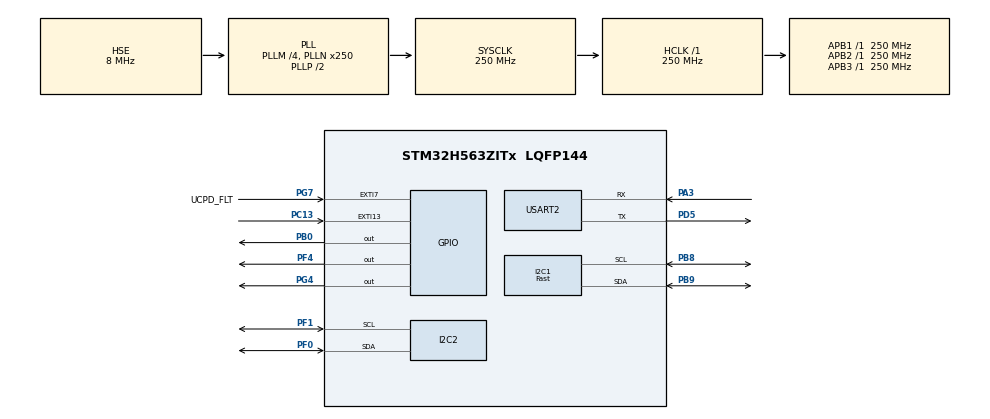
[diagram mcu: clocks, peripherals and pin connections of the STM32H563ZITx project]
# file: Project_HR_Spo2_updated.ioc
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BOOTPATH.BootPathName=LEGACY
BOOTPATH.UserSelectedBootPath=LEGACY
CORTEX_M33_NS.userName=CORTEX_M33
I2C1.I2C_Speed_Mode=I2C_Fast
I2C1.Timing=0x10C043E5
I2C2.Timing=0x60808CD3
Mcu.Family=STM32H5
Mcu.Name=STM32H563ZITx
Mcu.Package=LQFP144
NUCLEO-H563ZI.VCP=true
NVIC.PriorityGroup=NVIC_PRIORITYGROUP_3
NVIC.TIM2_IRQn=true\:0\:1\:false\:false\:true\:true\:true\:true
PA1.GPIO_Label=RMII_REF_CLK
PA1.GPIO_Mode=GPIO_MODE_AF_PP
PA1.GPIO_PuPd=GPIO_NOPULL
PA1.GPIO_Speed=GPIO_SPEED_FREQ_LOW
PA1.Signal=ETH_REF_CLK
PA11.GPIO_Label=USB_FS_N
PA11.Signal=USB_DM
PA12.GPIO_Label=USB_FS_P
PA12.Signal=USB_DP
PA13(JTMS/SWDIO).GPIO_Label=SWDIO
PA13(JTMS/SWDIO).Mode=Serial_Wire
PA13(JTMS/SWDIO).Signal=DEBUG_JTMS-SWDIO
PA14(JTCK/SWCLK).GPIO_Label=SWCLK
PA14(JTCK/SWCLK).Mode=Serial_Wire
PA14(JTCK/SWCLK).Signal=DEBUG_JTCK-SWCLK
PA15(JTDI).GPIO_Label=T_JTDI
PA15(JTDI).Signal=DEBUG_JTDI
PA2.GPIO_Label=RMII_MDIO
PA2.GPIO_Mode=GPIO_MODE_AF_PP
PA2.GPIO_PuPd=GPIO_NOPULL
PA2.GPIO_Speed=GPIO_SPEED_FREQ_LOW
PA2.Signal=ETH_MDIO
PA3.Mode=Asynchronous
PA3.Signal=USART2_RX
PA4.GPIO_Label=VBUS_SENSE
PA4.Signal=ADCx_INP18
PA7.GPIO_Label=RMII_CRS_DV
PA7.GPIO_Mode=GPIO_MODE_AF_PP
PA7.GPIO_PuPd=GPIO_NOPULL
PA7.GPIO_Speed=GPIO_SPEED_FREQ_LOW
PA7.Signal=ETH_CRS_DV
PA9.GPIO_Label=UCDP_DBn
PA9.Signal=UCPD1_DB1
PB0.Signal=GPIO_Output
PB13.GPIO_Label=UCPD_CC1
PB13.Signal=UCPD1_CC1
PB14.GPIO_Label=UCPD_CC2
PB14.Signal=UCPD1_CC2
PB15.GPIO_Label=RMII_TXD1
PB15.GPIO_Mode=GPIO_MODE_AF_PP
PB15.GPIO_PuPd=GPIO_NOPULL
PB15.GPIO_Speed=GPIO_SPEED_FREQ_LOW
PB15.Signal=ETH_TXD1
PB3(JTDO/TRACESWO).GPIO_Label=SWO
PB3(JTDO/TRACESWO).Signal=DEBUG_JTDO-SWO
PB6.GPIO_Label=ARD_D1_TX
PB6.Signal=LPUART1_TX
PB7.GPIO_Label=ARD_D0_RX
PB7.Signal=LPUART1_RX
PB8.Mode=I2C
PB8.Signal=I2C1_SCL
PB9.Mode=I2C
PB9.Signal=I2C1_SDA
PC1.GPIO_Label=RMII_MDC
PC1.GPIO_Mode=GPIO_MODE_AF_PP
PC1.GPIO_PuPd=GPIO_NOPULL
PC1.GPIO_Speed=GPIO_SPEED_FREQ_LOW
PC1.Signal=ETH_MDC
PC13.Signal=GPXTI13
PC14-OSC32_IN(OSC32_IN).Mode=LSE-External-Oscillator
PC14-OSC32_IN(OSC32_IN).Signal=RCC_OSC32_IN
PC15-OSC32_OUT(OSC32_OUT).Mode=LSE-External-Oscillator
PC15-OSC32_OUT(OSC32_OUT).Signal=RCC_OSC32_OUT
PC4.GPIO_Label=RMII_RXD0
PC4.GPIO_Mode=GPIO_MODE_AF_PP
PC4.GPIO_PuPd=GPIO_NOPULL
PC4.GPIO_Speed=GPIO_SPEED_FREQ_LOW
PC4.Signal=ETH_RXD0
PC5.GPIO_Label=RMII_RXD1
PC5.GPIO_Mode=GPIO_MODE_AF_PP
PC5.GPIO_PuPd=GPIO_NOPULL
PC5.GPIO_Speed=GPIO_SPEED_FREQ_LOW
PC5.Signal=ETH_RXD1
PD5.Mode=Asynchronous
PD5.Signal=USART2_TX
PD8.Signal=USART3_TX
PD9.Signal=USART3_RX
PE2.GPIO_Label=TRACE_CK
PE2.Signal=DEBUG_TRACECLK
PE3.GPIO_Label=TRACE_D0
PE3.Signal=DEBUG_TRACED0
PE4.GPIO_Label=TRACE_D1
PE4.Signal=DEBUG_TRACED1
PE5.GPIO_Label=TRACE_D2
PE5.Signal=DEBUG_TRACED2
PE6.GPIO_Label=TRACE_D3
PE6.Signal=DEBUG_TRACED3
PF0.Mode=I2C
PF0.Signal=I2C2_SDA
PF1.Mode=I2C
PF1.Signal=I2C2_SCL
PF4.Signal=GPIO_Output
PG11.GPIO_Label=RMII_TXT_EN
PG11.GPIO_Mode=GPIO_MODE_AF_PP
PG11.GPIO_PuPd=GPIO_NOPULL
PG11.GPIO_Speed=GPIO_SPEED_FREQ_LOW
PG11.Signal=ETH_TX_EN
PG13.GPIO_Label=RMI_TXD0
PG13.GPIO_Mode=GPIO_MODE_AF_PP
PG13.GPIO_PuPd=GPIO_NOPULL
PG13.GPIO_Speed=GPIO_SPEED_FREQ_LOW
PG13.Signal=ETH_TXD0
PG4.Signal=GPIO_Output
PG7.GPIO_Label=UCPD_FLT
PG7.Signal=GPXTI7
PH0-OSC_IN(PH0).GPIO_Label=STLK_MCO
PH0-OSC_IN(PH0).Mode=HSE-External-Clock-Source
PH0-OSC_IN(PH0).Signal=RCC_OSC_IN
ProjectManager.HeapSize=0x200
ProjectManager.StackSize=0x400
ProjectManager.TargetToolchain=STM32CubeIDE
RCC.ADCFreq_Value=250000000
RCC.AHBFreq_Value=250000000
RCC.APB1Freq_Value=250000000
RCC.APB1TimFreq_Value=250000000
RCC.APB2Freq_Value=250000000
RCC.APB2TimFreq_Value=250000000
RCC.APB3Freq_Value=250000000
RCC.CSI_VALUE=4000000
RCC.CortexFreq_Value=250000000
RCC.EPOD_VALUE=8000000
RCC.HCLKFreq_Value=250000000
RCC.HSE_VALUE=8000000
RCC.HSI48_VALUE=48000000
RCC.HSIDiv=RCC_HSI_DIV1
RCC.HSI_VALUE=64000000
RCC.LSIRC_VALUE=32000
RCC.PLLM=4
RCC.PLLN=250
RCC.PLLSourceVirtual=RCC_PLL1_SOURCE_HSE
RCC.SYSCLKFreq_VALUE=250000000
RCC.SYSCLKSource=RCC_SYSCLKSOURCE_PLLCLK
RCC.USBFreq_Value=48000000
RCC.VCOOutputFreq_Value=500000000
SH.ADCx_INP18.0=ADC1_INP18
TIM2.PeriodNoDither=99
TIM2.Prescaler=24999
USART2.VirtualMode-Asynchronous=VM_ASYNC
VP_BOOTPATH_VS_BOOTPATH.Mode=BP_Activate
VP_CORTEX_M33_NS_VS_Hclk.Mode=Hclk_Mode
VP_MEMORYMAP_VS_MEMORYMAP.Mode=CurAppReg
VP_NUCLEO-H563ZI_VS_BSP_COMMON.Mode=COMMON
VP_PWR_VS_DBSignals.Mode=DisableDeadBatterySignals
VP_PWR_VS_LPOM.Mode=PowerOptimisation
VP_PWR_VS_SECSignals.Mode=Security/Privilege
VP_TIM2_VS_ClockSourceINT.Mode=Internal
board=NUCLEO-H563ZI

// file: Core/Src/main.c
/* USER CODE BEGIN Header */
/**
  ******************************************************************************
  * @file           : main.c
  * @brief          : Main program body
  ******************************************************************************
  * @attention
  *
  * Copyright (c) 2025 STMicroelectronics.
  * All rights reserved.
  *
  * This software is licensed under terms that can be found in the LICENSE file
  * in the root directory of this software component.
  * If no LICENSE file comes with this software, it is provided AS-IS.
  *
  ******************************************************************************
  */
/* USER CODE END Header */
#include "main.h"

/* USER CODE BEGIN Includes */
#include "max30102.h"
/* USER CODE END Includes */

/* USER CODE BEGIN PTD */
/* System status */
typedef enum {
    SYSTEM_INIT,
    SYSTEM_READY,
    SYSTEM_SAMPLING,
    SYSTEM_ERROR
} SystemState_t;
/* USER CODE END PTD */

/* USER CODE BEGIN PD */
/* Status LED control */
#define STATUS_LED_PORT     GPIOA
#define STATUS_LED_PIN      GPIO_PIN_5
/* USER CODE END PD */

COM_InitTypeDef BspCOMInit;

I2C_HandleTypeDef hi2c1;
I2C_HandleTypeDef hi2c2;

TIM_HandleTypeDef htim2;

UART_HandleTypeDef huart2;

/* USER CODE BEGIN PV */
/* Timer callback flag for sampling */
volatile uint8_t sample_flag = 0;
volatile uint32_t system_tick = 0;

static SystemState_t system_state = SYSTEM_INIT;
/* USER CODE END PV */

void SystemClock_Config(void);
static void MX_GPIO_Init(void);
static void MX_I2C2_Init(void);
static void MX_TIM2_Init(void);
static void MX_I2C1_Init(void);
static void MX_USART2_UART_Init(void);
/* USER CODE BEGIN PFP */
void StatusLEDUpdate(void);
void MAX30102_Debug(void);
/* USER CODE END PFP */

int main(void)
{

  /* MCU Configuration--------------------------------------------------------*/

  /* Reset of all peripherals, Initializes the Flash interface and the Systick. */
  HAL_Init();

  /* Configure the system clock */
  SystemClock_Config();

  /* Initialize all configured peripherals */
  MX_GPIO_Init();
  MX_I2C2_Init();
  MX_TIM2_Init();
  MX_I2C1_Init();
  MX_USART2_UART_Init();
  /* USER CODE BEGIN 2 */

  /* Welcome message */
      printf("\r\n=== MAX30102 Pulse Oximeter System ===\r\n");
      printf("Initializing sensor...\r\n");

      /* Initialize MAX30102 sensor */
      MAX30102_Init();
      HAL_Delay(500);  // Allow sensor to stabilize

      /* Start sampling timer (10ms interval for 100Hz sampling) */
      if (HAL_TIM_Base_Start_IT(&htim2) != HAL_OK) {
          Error_Handler();
      }

      system_state = SYSTEM_READY;
      printf("System ready. Place finger on sensor.\r\n");

      /* Status LED: Slow blink for ready state */
      HAL_GPIO_WritePin(STATUS_LED_PORT, STATUS_LED_PIN, GPIO_PIN_SET);

  /* USER CODE END 2 */

//  /* Initialize COM1 port (115200, 8 bits (7-bit data + 1 stop bit), no parity */
//  BspCOMInit.BaudRate   = 115200;
//  BspCOMInit.WordLength = COM_WORDLENGTH_8B;
//  BspCOMInit.StopBits   = COM_STOPBITS_1;
//  BspCOMInit.Parity     = COM_PARITY_NONE;
//  BspCOMInit.HwFlowCtl  = COM_HWCONTROL_NONE;
//  if (BSP_COM_Init(COM1, &BspCOMInit) != BSP_ERROR_NONE)
//  {
//    Error_Handler();
//  }

  /* Infinite loop */
  while (1)
  {

    /* USER CODE BEGIN 3 */
	  /* Check for sampling flag from timer interrupt */
	          if (sample_flag) {
	              sample_flag = 0;

	              /* Read new FIFO data */

	              MAX30102_ReadFIFO();

	              /* Update system state based on data availability */
	              if (sensor_data.count >= MIN_SAMPLES_FOR_HR && system_state == SYSTEM_READY) {
	                  system_state = SYSTEM_SAMPLING;
	                  printf("Processing signals...\r\n");
	              }
	          }

	          /* Process vital signs every 100ms (when we have enough samples) */
	          static uint32_t last_process_time = 0;
	          uint32_t current_time = HAL_GetTick();

	          if (sensor_data.count >= MIN_SAMPLES_FOR_HR &&
	              (current_time - last_process_time) >= 100) {

	              /* Apply signal processing filters */
	              ProcessSignals();

	              /* Calculate and display vital signs */
	              ProcessVitalSigns();

	              last_process_time = current_time;
	          }

	          /* Status LED management */
	          StatusLEDUpdate();

	          HAL_Delay(100);
//	          MAX30102_Debug();
	          /* Watchdog or system health checks could go here */

	          /* Power optimization: brief sleep when no processing needed */
	          if (!sample_flag && (current_time - last_process_time) < 90) {
	              HAL_Delay(1);  // Brief delay to prevent busy waiting
	          }

  }
  /* USER CODE END 3 */
}

void SystemClock_Config(void)
{
  RCC_OscInitTypeDef RCC_OscInitStruct = {0};
  RCC_ClkInitTypeDef RCC_ClkInitStruct = {0};

  /** Configure the main internal regulator output voltage
  */
  __HAL_PWR_VOLTAGESCALING_CONFIG(PWR_REGULATOR_VOLTAGE_SCALE0);

  while(!__HAL_PWR_GET_FLAG(PWR_FLAG_VOSRDY)) {}

  /** Initializes the RCC Oscillators according to the specified parameters
  * in the RCC_OscInitTypeDef structure.
  */
  RCC_OscInitStruct.OscillatorType = RCC_OSCILLATORTYPE_HSE;
  RCC_OscInitStruct.HSEState = RCC_HSE_BYPASS;
  RCC_OscInitStruct.PLL.PLLState = RCC_PLL_ON;
  RCC_OscInitStruct.PLL.PLLSource = RCC_PLL1_SOURCE_HSE;
  RCC_OscInitStruct.PLL.PLLM = 4;
  RCC_OscInitStruct.PLL.PLLN = 250;
  RCC_OscInitStruct.PLL.PLLP = 2;
  RCC_OscInitStruct.PLL.PLLQ = 2;
  RCC_OscInitStruct.PLL.PLLR = 2;
  RCC_OscInitStruct.PLL.PLLRGE = RCC_PLL1_VCIRANGE_1;
  RCC_OscInitStruct.PLL.PLLVCOSEL = RCC_PLL1_VCORANGE_WIDE;
  RCC_OscInitStruct.PLL.PLLFRACN = 0;
  if (HAL_RCC_OscConfig(&RCC_OscInitStruct) != HAL_OK)
  {
    Error_Handler();
  }

  /** Initializes the CPU, AHB and APB buses clocks
  */
  RCC_ClkInitStruct.ClockType = RCC_CLOCKTYPE_HCLK|RCC_CLOCKTYPE_SYSCLK
                              |RCC_CLOCKTYPE_PCLK1|RCC_CLOCKTYPE_PCLK2
                              |RCC_CLOCKTYPE_PCLK3;
  RCC_ClkInitStruct.SYSCLKSource = RCC_SYSCLKSOURCE_PLLCLK;
  RCC_ClkInitStruct.AHBCLKDivider = RCC_SYSCLK_DIV1;
  RCC_ClkInitStruct.APB1CLKDivider = RCC_HCLK_DIV1;
  RCC_ClkInitStruct.APB2CLKDivider = RCC_HCLK_DIV1;
  RCC_ClkInitStruct.APB3CLKDivider = RCC_HCLK_DIV1;

  if (HAL_RCC_ClockConfig(&RCC_ClkInitStruct, FLASH_LATENCY_5) != HAL_OK)
  {
    Error_Handler();
  }

  /** Configure the programming delay
  */
  __HAL_FLASH_SET_PROGRAM_DELAY(FLASH_PROGRAMMING_DELAY_2);
}

static void MX_I2C1_Init(void)
{

  hi2c1.Instance = I2C1;
  hi2c1.Init.Timing = 0x10C043E5;
  hi2c1.Init.OwnAddress1 = 0;
  hi2c1.Init.AddressingMode = I2C_ADDRESSINGMODE_7BIT;
  hi2c1.Init.DualAddressMode = I2C_DUALADDRESS_DISABLE;
  hi2c1.Init.OwnAddress2 = 0;
  hi2c1.Init.OwnAddress2Masks = I2C_OA2_NOMASK;
  hi2c1.Init.GeneralCallMode = I2C_GENERALCALL_DISABLE;
  hi2c1.Init.NoStretchMode = I2C_NOSTRETCH_DISABLE;
  if (HAL_I2C_Init(&hi2c1) != HAL_OK)
  {
    Error_Handler();
  }

  /** Configure Analogue filter
  */
  if (HAL_I2CEx_ConfigAnalogFilter(&hi2c1, I2C_ANALOGFILTER_ENABLE) != HAL_OK)
  {
    Error_Handler();
  }

  /** Configure Digital filter
  */
  if (HAL_I2CEx_ConfigDigitalFilter(&hi2c1, 0) != HAL_OK)
  {
    Error_Handler();
  }

}

static void MX_I2C2_Init(void)
{

  hi2c2.Instance = I2C2;
  hi2c2.Init.Timing = 0x60808CD3;
  hi2c2.Init.OwnAddress1 = 0;
  hi2c2.Init.AddressingMode = I2C_ADDRESSINGMODE_7BIT;
  hi2c2.Init.DualAddressMode = I2C_DUALADDRESS_DISABLE;
  hi2c2.Init.OwnAddress2 = 0;
  hi2c2.Init.OwnAddress2Masks = I2C_OA2_NOMASK;
  hi2c2.Init.GeneralCallMode = I2C_GENERALCALL_DISABLE;
  hi2c2.Init.NoStretchMode = I2C_NOSTRETCH_DISABLE;
  if (HAL_I2C_Init(&hi2c2) != HAL_OK)
  {
    Error_Handler();
  }

  /** Configure Analogue filter
  */
  if (HAL_I2CEx_ConfigAnalogFilter(&hi2c2, I2C_ANALOGFILTER_ENABLE) != HAL_OK)
  {
    Error_Handler();
  }

  /** Configure Digital filter
  */
  if (HAL_I2CEx_ConfigDigitalFilter(&hi2c2, 0) != HAL_OK)
  {
    Error_Handler();
  }

}

static void MX_TIM2_Init(void)
{

  TIM_ClockConfigTypeDef sClockSourceConfig = {0};
  TIM_MasterConfigTypeDef sMasterConfig = {0};

  htim2.Instance = TIM2;
  htim2.Init.Prescaler = 8399;
  htim2.Init.CounterMode = TIM_COUNTERMODE_UP;
  htim2.Init.Period = 99;
  htim2.Init.ClockDivision = TIM_CLOCKDIVISION_DIV1;
  htim2.Init.AutoReloadPreload = TIM_AUTORELOAD_PRELOAD_DISABLE;
  if (HAL_TIM_Base_Init(&htim2) != HAL_OK)
  {
    Error_Handler();
  }
  sClockSourceConfig.ClockSource = TIM_CLOCKSOURCE_INTERNAL;
  if (HAL_TIM_ConfigClockSource(&htim2, &sClockSourceConfig) != HAL_OK)
  {
    Error_Handler();
  }
  sMasterConfig.MasterOutputTrigger = TIM_TRGO_RESET;
  sMasterConfig.MasterSlaveMode = TIM_MASTERSLAVEMODE_DISABLE;
  if (HAL_TIMEx_MasterConfigSynchronization(&htim2, &sMasterConfig) != HAL_OK)
  {
    Error_Handler();
  }

}

static void MX_USART2_UART_Init(void)
{

  huart2.Instance = USART2;
  huart2.Init.BaudRate = 115200;
  huart2.Init.WordLength = UART_WORDLENGTH_8B;
  huart2.Init.StopBits = UART_STOPBITS_1;
  huart2.Init.Parity = UART_PARITY_NONE;
  huart2.Init.Mode = UART_MODE_TX_RX;
  huart2.Init.HwFlowCtl = UART_HWCONTROL_NONE;
  huart2.Init.OverSampling = UART_OVERSAMPLING_16;
  huart2.Init.OneBitSampling = UART_ONE_BIT_SAMPLE_DISABLE;
  huart2.Init.ClockPrescaler = UART_PRESCALER_DIV1;
  huart2.AdvancedInit.AdvFeatureInit = UART_ADVFEATURE_NO_INIT;
  if (HAL_UART_Init(&huart2) != HAL_OK)
  {
    Error_Handler();
  }
  if (HAL_UARTEx_SetTxFifoThreshold(&huart2, UART_TXFIFO_THRESHOLD_1_8) != HAL_OK)
  {
    Error_Handler();
  }
  if (HAL_UARTEx_SetRxFifoThreshold(&huart2, UART_RXFIFO_THRESHOLD_1_8) != HAL_OK)
  {
    Error_Handler();
  }
  if (HAL_UARTEx_DisableFifoMode(&huart2) != HAL_OK)
  {
    Error_Handler();
  }

}

static void MX_GPIO_Init(void)
{
  GPIO_InitTypeDef GPIO_InitStruct = {0};

  /* GPIO Ports Clock Enable */
  __HAL_RCC_GPIOE_CLK_ENABLE();
  __HAL_RCC_GPIOC_CLK_ENABLE();
  __HAL_RCC_GPIOF_CLK_ENABLE();
  __HAL_RCC_GPIOH_CLK_ENABLE();
  __HAL_RCC_GPIOA_CLK_ENABLE();
  __HAL_RCC_GPIOB_CLK_ENABLE();
  __HAL_RCC_GPIOG_CLK_ENABLE();
  __HAL_RCC_GPIOD_CLK_ENABLE();

  /*Configure GPIO pin Output Level */
  HAL_GPIO_WritePin(GPIOF, GPIO_PIN_4, GPIO_PIN_RESET);

  /*Configure GPIO pin Output Level */
  HAL_GPIO_WritePin(GPIOB, GPIO_PIN_0, GPIO_PIN_RESET);

  /*Configure GPIO pin Output Level */
  HAL_GPIO_WritePin(GPIOG, GPIO_PIN_4, GPIO_PIN_RESET);

  /*Configure GPIO pin : PC13 */
  GPIO_InitStruct.Pin = GPIO_PIN_13;
  GPIO_InitStruct.Mode = GPIO_MODE_IT_RISING;
  GPIO_InitStruct.Pull = GPIO_NOPULL;
  HAL_GPIO_Init(GPIOC, &GPIO_InitStruct);

  /*Configure GPIO pin : PF4 */
  GPIO_InitStruct.Pin = GPIO_PIN_4;
  GPIO_InitStruct.Mode = GPIO_MODE_OUTPUT_PP;
  GPIO_InitStruct.Pull = GPIO_NOPULL;
  GPIO_InitStruct.Speed = GPIO_SPEED_FREQ_LOW;
  HAL_GPIO_Init(GPIOF, &GPIO_InitStruct);

  /*Configure GPIO pins : RMII_MDC_Pin RMII_RXD0_Pin RMII_RXD1_Pin */
  GPIO_InitStruct.Pin = RMII_MDC_Pin|RMII_RXD0_Pin|RMII_RXD1_Pin;
  GPIO_InitStruct.Mode = GPIO_MODE_AF_PP;
  GPIO_InitStruct.Pull = GPIO_NOPULL;
  GPIO_InitStruct.Speed = GPIO_SPEED_FREQ_HIGH;
  GPIO_InitStruct.Alternate = GPIO_AF11_ETH;
  HAL_GPIO_Init(GPIOC, &GPIO_InitStruct);

  /*Configure GPIO pins : RMII_REF_CLK_Pin RMII_MDIO_Pin RMII_CRS_DV_Pin */
  GPIO_InitStruct.Pin = RMII_REF_CLK_Pin|RMII_MDIO_Pin|RMII_CRS_DV_Pin;
  GPIO_InitStruct.Mode = GPIO_MODE_AF_PP;
  GPIO_InitStruct.Pull = GPIO_NOPULL;
  GPIO_InitStruct.Speed = GPIO_SPEED_FREQ_HIGH;
  GPIO_InitStruct.Alternate = GPIO_AF11_ETH;
  HAL_GPIO_Init(GPIOA, &GPIO_InitStruct);

  /*Configure GPIO pin : VBUS_SENSE_Pin */
  GPIO_InitStruct.Pin = VBUS_SENSE_Pin;
  GPIO_InitStruct.Mode = GPIO_MODE_ANALOG;
  GPIO_InitStruct.Pull = GPIO_NOPULL;
  HAL_GPIO_Init(VBUS_SENSE_GPIO_Port, &GPIO_InitStruct);

  /*Configure GPIO pin : PB0 */
  GPIO_InitStruct.Pin = GPIO_PIN_0;
  GPIO_InitStruct.Mode = GPIO_MODE_OUTPUT_PP;
  GPIO_InitStruct.Pull = GPIO_NOPULL;
  GPIO_InitStruct.Speed = GPIO_SPEED_FREQ_LOW;
  HAL_GPIO_Init(GPIOB, &GPIO_InitStruct);

  /*Configure GPIO pins : UCPD_CC1_Pin UCPD_CC2_Pin */
  GPIO_InitStruct.Pin = UCPD_CC1_Pin|UCPD_CC2_Pin;
  GPIO_InitStruct.Mode = GPIO_MODE_ANALOG;
  GPIO_InitStruct.Pull = GPIO_NOPULL;
  HAL_GPIO_Init(GPIOB, &GPIO_InitStruct);

  /*Configure GPIO pin : RMII_TXD1_Pin */
  GPIO_InitStruct.Pin = RMII_TXD1_Pin;
  GPIO_InitStruct.Mode = GPIO_MODE_AF_PP;
  GPIO_InitStruct.Pull = GPIO_NOPULL;
  GPIO_InitStruct.Speed = GPIO_SPEED_FREQ_HIGH;
  GPIO_InitStruct.Alternate = GPIO_AF11_ETH;
  HAL_GPIO_Init(RMII_TXD1_GPIO_Port, &GPIO_InitStruct);

  /*Configure GPIO pin : PG4 */
  GPIO_InitStruct.Pin = GPIO_PIN_4;
  GPIO_InitStruct.Mode = GPIO_MODE_OUTPUT_PP;
  GPIO_InitStruct.Pull = GPIO_NOPULL;
  GPIO_InitStruct.Speed = GPIO_SPEED_FREQ_LOW;
  HAL_GPIO_Init(GPIOG, &GPIO_InitStruct);

  /*Configure GPIO pin : UCPD_FLT_Pin */
  GPIO_InitStruct.Pin = UCPD_FLT_Pin;
  GPIO_InitStruct.Mode = GPIO_MODE_IT_RISING;
  GPIO_InitStruct.Pull = GPIO_NOPULL;
  HAL_GPIO_Init(UCPD_FLT_GPIO_Port, &GPIO_InitStruct);

  /*Configure GPIO pins : USB_FS_N_Pin USB_FS_P_Pin */
  GPIO_InitStruct.Pin = USB_FS_N_Pin|USB_FS_P_Pin;
  GPIO_InitStruct.Mode = GPIO_MODE_AF_PP;
  GPIO_InitStruct.Pull = GPIO_NOPULL;
  GPIO_InitStruct.Speed = GPIO_SPEED_FREQ_LOW;
  GPIO_InitStruct.Alternate = GPIO_AF10_USB;
  HAL_GPIO_Init(GPIOA, &GPIO_InitStruct);

  /*Configure GPIO pins : RMII_TXT_EN_Pin RMI_TXD0_Pin */
  GPIO_InitStruct.Pin = RMII_TXT_EN_Pin|RMI_TXD0_Pin;
  GPIO_InitStruct.Mode = GPIO_MODE_AF_PP;
  GPIO_InitStruct.Pull = GPIO_NOPULL;
  GPIO_InitStruct.Speed = GPIO_SPEED_FREQ_HIGH;
  GPIO_InitStruct.Alternate = GPIO_AF11_ETH;
  HAL_GPIO_Init(GPIOG, &GPIO_InitStruct);

  /*Configure GPIO pins : ARD_D1_TX_Pin ARD_D0_RX_Pin */
  GPIO_InitStruct.Pin = ARD_D1_TX_Pin|ARD_D0_RX_Pin;
  GPIO_InitStruct.Mode = GPIO_MODE_AF_PP;
  GPIO_InitStruct.Pull = GPIO_NOPULL;
  GPIO_InitStruct.Speed = GPIO_SPEED_FREQ_LOW;
  GPIO_InitStruct.Alternate = GPIO_AF8_LPUART1;
  HAL_GPIO_Init(GPIOB, &GPIO_InitStruct);

}

/* USER CODE BEGIN 4 */
/**
 * @brief Update status LED based on system state
 */
void StatusLEDUpdate(void)
{
    static uint32_t led_last_toggle = 0;
    static uint8_t led_state = 0;
    uint32_t current_time = HAL_GetTick();
    uint32_t blink_interval;

    /* Determine blink pattern based on system state */
    switch (system_state) {
        case SYSTEM_INIT:
            blink_interval = 100;  // Fast blink during init
            break;

        case SYSTEM_READY:
            blink_interval = 1000;  // Slow blink when ready
            break;

        case SYSTEM_SAMPLING:
            if (vital_signs.finger_detected && vital_signs.valid_reading) {
                blink_interval = 500;  // Medium blink when getting valid readings
            } else {
                blink_interval = 250;  // Fast blink when finger detected but no valid reading
            }
            break;

        case SYSTEM_ERROR:
            blink_interval = 150;  // Very fast blink for error
            break;

        default:
            blink_interval = 1000;
            break;
    }

    /* Toggle LED based on interval */
    if ((current_time - led_last_toggle) >= blink_interval) {
        led_state = !led_state;
        HAL_GPIO_WritePin(STATUS_LED_PORT, STATUS_LED_PIN, led_state ? GPIO_PIN_SET : GPIO_PIN_RESET);
        led_last_toggle = current_time;
    }
}

/**
 * @brief Timer interrupt callback for sampling
 */
void HAL_TIM_PeriodElapsedCallback(TIM_HandleTypeDef *htim)
{
    if (htim->Instance == TIM2) {
        sample_flag = 1;
        system_tick++;
    }
}

void MAX30102_Debug(void) {
    uint8_t data;
    printf("=== MAX30102 Debug Info ===\r\n");

    // Read all important registers
    HAL_I2C_Mem_Read(&hi2c1, MAX30102_I2C_ADDR, MAX30102_PART_ID, 1, &data, 1, 1000);
    printf("Part ID: 0x%02X\r\n", data);

    HAL_I2C_Mem_Read(&hi2c1, MAX30102_I2C_ADDR, MAX30102_MODE_CONFIG, 1, &data, 1, 1000);
    printf("Mode Config: 0x%02X\r\n", data);

    HAL_I2C_Mem_Read(&hi2c1, MAX30102_I2C_ADDR, MAX30102_FIFO_WR_PTR, 1, &data, 1, 1000);
    printf("FIFO Write Ptr: %d\r\n", data);

    HAL_I2C_Mem_Read(&hi2c1, MAX30102_I2C_ADDR, MAX30102_FIFO_RD_PTR, 1, &data, 1, 1000);
    printf("FIFO Read Ptr: %d\r\n", data);

    printf("Sample Count: %d\r\n", sensor_data.count);
    printf("==========================\r\n");
}

/**
 * @brief  Printf redirect to UART
 */
//int _write(int file, char *ptr, int len)
//{
//    HAL_UART_Transmit(&huart2, (uint8_t *)ptr, len, HAL_MAX_DELAY);
//    return len;
//}

/* USER CODE END 4 */

void Error_Handler(void)
{
  /* USER CODE BEGIN Error_Handler_Debug */
  /* User can add his own implementation to report the HAL error return state */
	system_state = SYSTEM_ERROR;
	    printf("ERROR: System error occurred!\r\n");
	    __disable_irq();
	    while (1) {
	        /* Error state - fast blink LED */
	        HAL_GPIO_TogglePin(STATUS_LED_PORT, STATUS_LED_PIN);
	        HAL_Delay(100);
	    }
  /* USER CODE END Error_Handler_Debug */
}

#ifdef  USE_FULL_ASSERT
/**
  * @brief  Reports the name of the source file and the source line number
  *         where the assert_param error has occurred.
  * @param  file: pointer to the source file name
  * @param  line: assert_param error line source number
  * @retval None
  */
void assert_failed(uint8_t *file, uint32_t line)
{
  /* USER CODE BEGIN 6 */
  /* User can add his own implementation to report the file name and line number, */
     printf("Wrong parameters value: file %s on line %d\r\n", file, line);
  /* USER CODE END 6 */
}
#endif /* USE_FULL_ASSERT */
